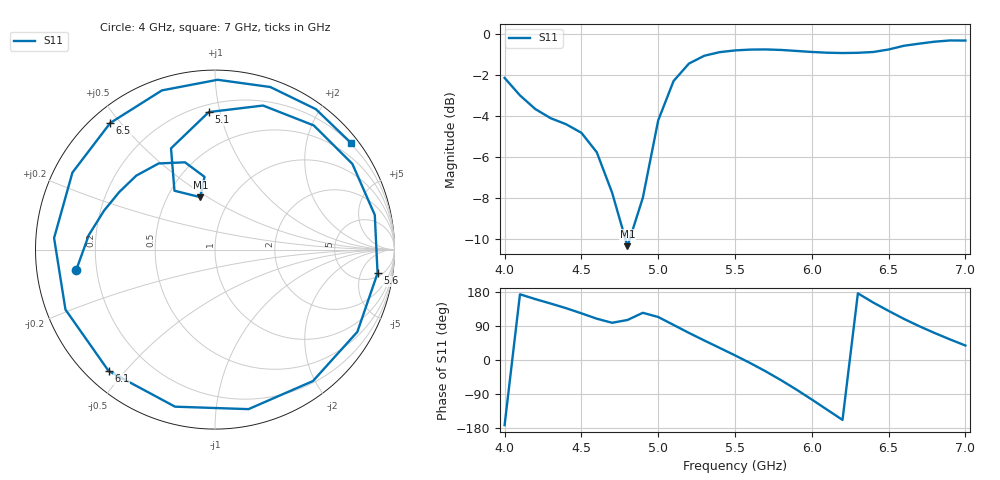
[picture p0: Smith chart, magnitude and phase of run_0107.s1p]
! Touchstone file exported from HFSS 2024.2.0
!  File:  C:/Users/wsak9/Desktop/Sim Fast/Widenad Patch/WP_AI_V1_sweep.aedt
!  Generated:  07:22:18 PM Oct 13, 2026
!  Design:  A1_model
!  Project:  WP_AI_V1_sweep
!  Setup:  Setup1
!  Solution:  Sweep
! Variables:
!  Air_gap = 4.63mm
!  Curve_Amp1 = 2.15
!  Curve_len1 = 1
!  Curve_pos = 12.695mm
!  Extra = 7.85mm
!  H_sub = 0.79mm
!  L_Patch = 21.39mm
!  L_Patch1 = 19.78mm
!  Sx = 3.91mm
!  Sy = 1.93mm
!  WS = 1.22mm
!  W_Patch = 21.7mm
!  W_Patch1 = 11.93mm
!Data is not renormalized
# GHz S MA
! Terminal data exported
! Port[1] = 1
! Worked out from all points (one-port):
!   31 points, 4 GHz to 7 GHz, reference per port
!   lowest |S11| = -10.4 dB at 4.8 GHz (marker M1), VSWR 1.87
!   |S11| at or under -10 dB: 4.786 GHz to 4.815 GHz (29.05 MHz wide, 0.605 % of centre)
!   S11 on the Smith chart (normalised r, x): 4 GHz: 0.12, -0.07; 5.1 GHz: 0.25, +0.92; 5.6 GHz: 6, -10; 6.1 GHz: 0.06, -0.45; 6.5 GHz: 0.05, +0.47; 7 GHz: 0.18, +2.87
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4  0.7805 -171.8
4.2  0.6553 160.7
4.4  0.6018 136.8
4.6  0.5142 109.0
4.7  0.4096 98.2
4.8  0.3034 105.6
4.9  0.3982 124.6
5  0.615 113.5
5.1  0.7671 92.6
5.2  0.8461 71.5
5.3  0.884 51.5
5.4  0.9021 32.0
5.5  0.911 12.2
5.6  0.9151 -8.3
5.7  0.916 -30.0
5.8  0.9133 -53.3
5.9  0.9082 -78.1
6  0.903 -104.3
6.1  0.8993 -131.2
6.2  0.8977 -158.1
6.3  0.8988 175.9
6.4  0.9029 151.6
6.5  0.9156 129.6
6.6  0.935 108.4
6.7  0.9463 89.1
6.8  0.9568 71.2
6.9  0.9633 54.3
7  0.9627 38.2
